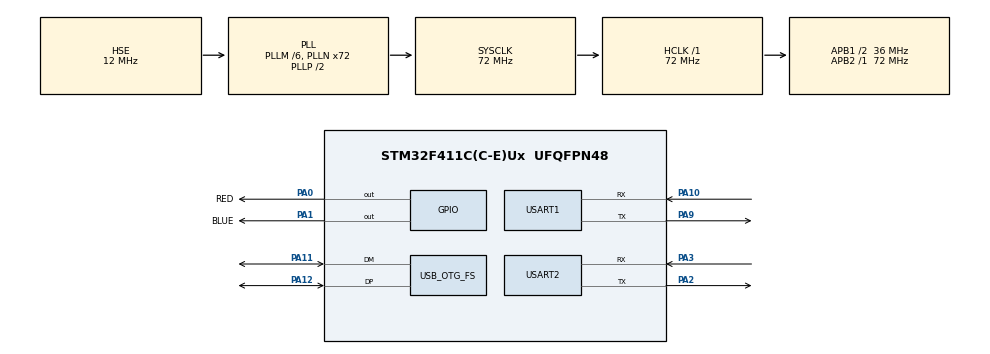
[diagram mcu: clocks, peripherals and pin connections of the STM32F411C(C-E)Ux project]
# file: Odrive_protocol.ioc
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Dma.Request0=USART1_RX
Dma.Request1=USART1_TX
Dma.Request2=USART2_RX
Dma.Request3=USART2_TX
Dma.USART1_RX.0.Direction=DMA_PERIPH_TO_MEMORY
Dma.USART1_RX.0.FIFOMode=DMA_FIFOMODE_DISABLE
Dma.USART1_RX.0.Instance=DMA2_Stream2
Dma.USART1_RX.0.MemDataAlignment=DMA_MDATAALIGN_BYTE
Dma.USART1_RX.0.MemInc=DMA_MINC_ENABLE
Dma.USART1_RX.0.Mode=DMA_CIRCULAR
Dma.USART1_RX.0.PeriphDataAlignment=DMA_PDATAALIGN_BYTE
Dma.USART1_RX.0.PeriphInc=DMA_PINC_DISABLE
Dma.USART1_RX.0.Priority=DMA_PRIORITY_LOW
Dma.USART1_TX.1.Direction=DMA_MEMORY_TO_PERIPH
Dma.USART1_TX.1.FIFOMode=DMA_FIFOMODE_DISABLE
Dma.USART1_TX.1.Instance=DMA2_Stream7
Dma.USART1_TX.1.MemDataAlignment=DMA_MDATAALIGN_BYTE
Dma.USART1_TX.1.MemInc=DMA_MINC_ENABLE
Dma.USART1_TX.1.Mode=DMA_NORMAL
Dma.USART1_TX.1.PeriphDataAlignment=DMA_PDATAALIGN_BYTE
Dma.USART1_TX.1.PeriphInc=DMA_PINC_DISABLE
Dma.USART1_TX.1.Priority=DMA_PRIORITY_LOW
Dma.USART2_RX.2.Direction=DMA_PERIPH_TO_MEMORY
Dma.USART2_RX.2.FIFOMode=DMA_FIFOMODE_DISABLE
Dma.USART2_RX.2.Instance=DMA1_Stream5
Dma.USART2_RX.2.MemDataAlignment=DMA_MDATAALIGN_BYTE
Dma.USART2_RX.2.MemInc=DMA_MINC_ENABLE
Dma.USART2_RX.2.Mode=DMA_CIRCULAR
Dma.USART2_RX.2.PeriphDataAlignment=DMA_PDATAALIGN_BYTE
Dma.USART2_RX.2.PeriphInc=DMA_PINC_DISABLE
Dma.USART2_RX.2.Priority=DMA_PRIORITY_LOW
Dma.USART2_TX.3.Direction=DMA_MEMORY_TO_PERIPH
Dma.USART2_TX.3.FIFOMode=DMA_FIFOMODE_DISABLE
Dma.USART2_TX.3.Instance=DMA1_Stream6
Dma.USART2_TX.3.MemDataAlignment=DMA_MDATAALIGN_BYTE
Dma.USART2_TX.3.MemInc=DMA_MINC_ENABLE
Dma.USART2_TX.3.Mode=DMA_NORMAL
Dma.USART2_TX.3.PeriphDataAlignment=DMA_PDATAALIGN_BYTE
Dma.USART2_TX.3.PeriphInc=DMA_PINC_DISABLE
Dma.USART2_TX.3.Priority=DMA_PRIORITY_LOW
FREERTOS.Tasks01=defaultTask,24,128,StartDefaultTask,Default,NULL,Dynamic,NULL,NULL
FREERTOS.configTOTAL_HEAP_SIZE=65536
Mcu.Family=STM32F4
Mcu.Name=STM32F411C(C-E)Ux
Mcu.Package=UFQFPN48
NVIC.DMA1_Stream5_IRQn=true\:6\:0\:true\:false\:true\:true\:false\:true\:true
NVIC.DMA1_Stream6_IRQn=true\:6\:0\:true\:false\:true\:true\:false\:true\:true
NVIC.DMA2_Stream2_IRQn=true\:6\:0\:true\:false\:true\:true\:false\:true\:true
NVIC.DMA2_Stream7_IRQn=true\:5\:0\:false\:false\:true\:true\:false\:true\:true
NVIC.OTG_FS_IRQn=true\:6\:0\:true\:false\:true\:true\:true\:true\:true
NVIC.PriorityGroup=NVIC_PRIORITYGROUP_4
NVIC.TIM1_UP_TIM10_IRQn=true\:15\:0\:false\:false\:true\:false\:false\:true\:true
NVIC.TimeBase=TIM1_UP_TIM10_IRQn
NVIC.TimeBaseIP=TIM10
NVIC.USART1_IRQn=true\:6\:0\:true\:false\:true\:true\:true\:true\:true
NVIC.USART2_IRQn=true\:6\:0\:true\:false\:true\:true\:true\:true\:true
PA0-WKUP.GPIO_Label=RED
PA0-WKUP.GPIO_PuPd=GPIO_PULLUP
PA0-WKUP.Signal=GPIO_Output
PA1.GPIO_Label=BLUE
PA1.GPIO_PuPd=GPIO_PULLUP
PA1.Signal=GPIO_Output
PA10.Mode=Asynchronous
PA10.Signal=USART1_RX
PA11.Mode=Device_Only
PA11.Signal=USB_OTG_FS_DM
PA12.Mode=Device_Only
PA12.Signal=USB_OTG_FS_DP
PA13.Mode=Serial_Wire
PA13.Signal=SYS_JTMS-SWDIO
PA14.Mode=Serial_Wire
PA14.Signal=SYS_JTCK-SWCLK
PA2.Mode=Asynchronous
PA2.Signal=USART2_TX
PA3.Mode=Asynchronous
PA3.Signal=USART2_RX
PA9.Mode=Asynchronous
PA9.Signal=USART1_TX
PH0\ -\ OSC_IN.Mode=HSE-External-Oscillator
PH0\ -\ OSC_IN.Signal=RCC_OSC_IN
PH1\ -\ OSC_OUT.Mode=HSE-External-Oscillator
PH1\ -\ OSC_OUT.Signal=RCC_OSC_OUT
ProjectManager.HeapSize=0x200
ProjectManager.StackSize=0x400
ProjectManager.TargetToolchain=SW4STM32
RCC.48MHZClocksFreq_Value=48000000
RCC.AHBFreq_Value=72000000
RCC.APB1CLKDivider=RCC_HCLK_DIV2
RCC.APB1Freq_Value=36000000
RCC.APB1TimFreq_Value=72000000
RCC.APB2Freq_Value=72000000
RCC.APB2TimFreq_Value=72000000
RCC.CortexFreq_Value=72000000
RCC.HCLKFreq_Value=72000000
RCC.HSE_VALUE=12000000
RCC.HSI_VALUE=16000000
RCC.LSE_VALUE=32768
RCC.PLLM=6
RCC.PLLN=72
RCC.PLLQ=3
RCC.SYSCLKFreq_VALUE=72000000
RCC.SYSCLKSource=RCC_SYSCLKSOURCE_PLLCLK
RCC.VCOOutputFreq_Value=144000000
USART1.VirtualMode=VM_ASYNC
USART2.VirtualMode=VM_ASYNC
USB_DEVICE.CLASS_NAME_FS=CDC
USB_DEVICE.VirtualMode=Cdc
USB_DEVICE.VirtualModeFS=Cdc_FS
USB_OTG_FS.VirtualMode=Device_Only
VP_FREERTOS_VS_CMSIS_V2.Mode=CMSIS_V2
VP_SYS_VS_tim10.Mode=TIM10
VP_USB_DEVICE_VS_USB_DEVICE_CDC_FS.Mode=CDC_FS
board=custom

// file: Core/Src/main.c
/* USER CODE BEGIN Header */
/**
  ******************************************************************************
  * @file           : main.c
  * @brief          : Main program body
  ******************************************************************************
  * @attention
  *
  * Copyright (c) 2024 STMicroelectronics.
  * All rights reserved.
  *
  * This software is licensed under terms that can be found in the LICENSE file
  * in the root directory of this software component.
  * If no LICENSE file comes with this software, it is provided AS-IS.
  *
  ******************************************************************************
  */
/* USER CODE END Header */
#include "main.h"
#include "cmsis_os.h"
#include "dma.h"
#include "usart.h"
#include "usb_device.h"
#include "gpio.h"

/* USER CODE BEGIN PV */
uint64_t serialNumber;
char serialNumberStr[13];
__attribute__((section(".ccmram"))) uint8_t ucHeap[configTOTAL_HEAP_SIZE];
/* USER CODE END PV */

void SystemClock_Config(void);
void MX_FREERTOS_Init(void);

int main(void)
{
  /* USER CODE BEGIN 1 */
    // This procedure of building a USB serial number should be identical
    // to the way the STM's built-in USB bootloader does it. This means
    // that the device will have the same serial number in normal and DFU mode.
    uint32_t uuid0 = *(uint32_t *) (UID_BASE + 0);
    uint32_t uuid1 = *(uint32_t *) (UID_BASE + 4);
    uint32_t uuid2 = *(uint32_t *) (UID_BASE + 8);
    uint32_t uuid_mixed_part = uuid0 + uuid2;
    serialNumber = ((uint64_t) uuid_mixed_part << 16) | (uint64_t) (uuid1 >> 16);

    uint64_t val = serialNumber;
    for (size_t i = 0; i < 12; ++i)
    {
        serialNumberStr[i] = "0123456789ABCDEF"[(val >> (48 - 4)) & 0xf];
        val <<= 4;
    }
    serialNumberStr[12] = 0;
  /* USER CODE END 1 */

  /* MCU Configuration--------------------------------------------------------*/

  /* Reset of all peripherals, Initializes the Flash interface and the Systick. */
  HAL_Init();

  /* USER CODE BEGIN Init */
    HAL_RCC_DeInit();
  /* USER CODE END Init */

  /* Configure the system clock */
  SystemClock_Config();

  /* Initialize all configured peripherals */
  MX_GPIO_Init();
  MX_DMA_Init();
  MX_USART1_UART_Init();
  MX_USART2_UART_Init();

  /* Init scheduler */
  osKernelInitialize();  /* Call init function for freertos objects (in freertos.c) */
  MX_FREERTOS_Init();

  /* Start scheduler */
  osKernelStart();

  /* We should never get here as control is now taken by the scheduler */
  /* Infinite loop */
  while (1)
  {

  }
}

void SystemClock_Config(void)
{
  RCC_OscInitTypeDef RCC_OscInitStruct = {0};
  RCC_ClkInitTypeDef RCC_ClkInitStruct = {0};

  /** Configure the main internal regulator output voltage
  */
  __HAL_RCC_PWR_CLK_ENABLE();
  __HAL_PWR_VOLTAGESCALING_CONFIG(PWR_REGULATOR_VOLTAGE_SCALE1);

  /** Initializes the RCC Oscillators according to the specified parameters
  * in the RCC_OscInitTypeDef structure.
  */
  RCC_OscInitStruct.OscillatorType = RCC_OSCILLATORTYPE_HSE;
  RCC_OscInitStruct.HSEState = RCC_HSE_ON;
  RCC_OscInitStruct.PLL.PLLState = RCC_PLL_ON;
  RCC_OscInitStruct.PLL.PLLSource = RCC_PLLSOURCE_HSE;
  RCC_OscInitStruct.PLL.PLLM = 6;
  RCC_OscInitStruct.PLL.PLLN = 72;
  RCC_OscInitStruct.PLL.PLLP = RCC_PLLP_DIV2;
  RCC_OscInitStruct.PLL.PLLQ = 3;
  if (HAL_RCC_OscConfig(&RCC_OscInitStruct) != HAL_OK)
  {
    Error_Handler();
  }

  /** Initializes the CPU, AHB and APB buses clocks
  */
  RCC_ClkInitStruct.ClockType = RCC_CLOCKTYPE_HCLK|RCC_CLOCKTYPE_SYSCLK
                              |RCC_CLOCKTYPE_PCLK1|RCC_CLOCKTYPE_PCLK2;
  RCC_ClkInitStruct.SYSCLKSource = RCC_SYSCLKSOURCE_PLLCLK;
  RCC_ClkInitStruct.AHBCLKDivider = RCC_SYSCLK_DIV1;
  RCC_ClkInitStruct.APB1CLKDivider = RCC_HCLK_DIV2;
  RCC_ClkInitStruct.APB2CLKDivider = RCC_HCLK_DIV1;

  if (HAL_RCC_ClockConfig(&RCC_ClkInitStruct, FLASH_LATENCY_2) != HAL_OK)
  {
    Error_Handler();
  }
}

void HAL_TIM_PeriodElapsedCallback(TIM_HandleTypeDef *htim)
{
  if (htim->Instance == TIM10) {
    HAL_IncTick();
  }
}

void Error_Handler(void)
{
  __disable_irq();
  while (1)
  {
  }
}

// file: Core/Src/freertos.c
/* USER CODE BEGIN Header */
/**
  ******************************************************************************
  * File Name          : freertos.c
  * Description        : Code for freertos applications
  ******************************************************************************
  * @attention
  *
  * Copyright (c) 2024 STMicroelectronics.
  * All rights reserved.
  *
  * This software is licensed under terms that can be found in the LICENSE file
  * in the root directory of this software component.
  * If no LICENSE file comes with this software, it is provided AS-IS.
  *
  ******************************************************************************
  */
/* USER CODE END Header */

#include "FreeRTOS.h"
#include "task.h"
#include "main.h"
#include "cmsis_os.h"

/* USER CODE BEGIN Includes */
#include "common_inc.h"
#include "communication.hpp"
/* USER CODE END Includes */

/* USER CODE BEGIN Variables */
// List of semaphores
osSemaphoreId sem_usb_irq;
osSemaphoreId sem_uart1_dma;
osSemaphoreId sem_uart2_dma;
osSemaphoreId sem_usb_rx;
osSemaphoreId sem_usb_tx;
/* USER CODE END Variables */
/* Definitions for defaultTask */
osThreadId_t defaultTaskHandle;
const osThreadAttr_t defaultTask_attributes = {
  .name = "defaultTask",
  .stack_size = 128 * 4,
  .priority = (osPriority_t) osPriorityNormal,
};

void StartDefaultTask(void *argument);

extern void MX_USB_DEVICE_Init(void);
void MX_FREERTOS_Init(void); /* (MISRA C 2004 rule 8.1) */

void MX_FREERTOS_Init(void) {

  /* USER CODE BEGIN RTOS_SEMAPHORES */
    osSemaphoreDef(sem_usb_irq);
    sem_usb_irq = osSemaphoreNew(1, 0, osSemaphore(sem_usb_irq));

    // Create a semaphore for UART DMA and remove a token
    osSemaphoreDef(sem_uart1_dma);
    sem_uart1_dma = osSemaphoreNew(1, 1, osSemaphore(sem_uart1_dma));
    osSemaphoreDef(sem_uart2_dma);
    sem_uart2_dma = osSemaphoreNew(1, 1, osSemaphore(sem_uart2_dma));

    // Create a semaphore for USB RX, and start with no tokens by removing the starting one.
    osSemaphoreDef(sem_usb_rx);
    sem_usb_rx = osSemaphoreNew(1, 0, osSemaphore(sem_usb_rx));

    // Create a semaphore for USB TX
    osSemaphoreDef(sem_usb_tx);
    sem_usb_tx = osSemaphoreNew(1, 1, osSemaphore(sem_usb_tx));
  /* USER CODE END RTOS_SEMAPHORES */

  /* Create the thread(s) */
  /* creation of defaultTask */
  defaultTaskHandle = osThreadNew(StartDefaultTask, NULL, &defaultTask_attributes);

}

void StartDefaultTask(void *argument)
{
  /* init code for USB_DEVICE */
  MX_USB_DEVICE_Init();
  /* USER CODE BEGIN StartDefaultTask */
    Main();
  /* Infinite loop */
    vTaskDelete(defaultTaskHandle);
  /* USER CODE END StartDefaultTask */
}
